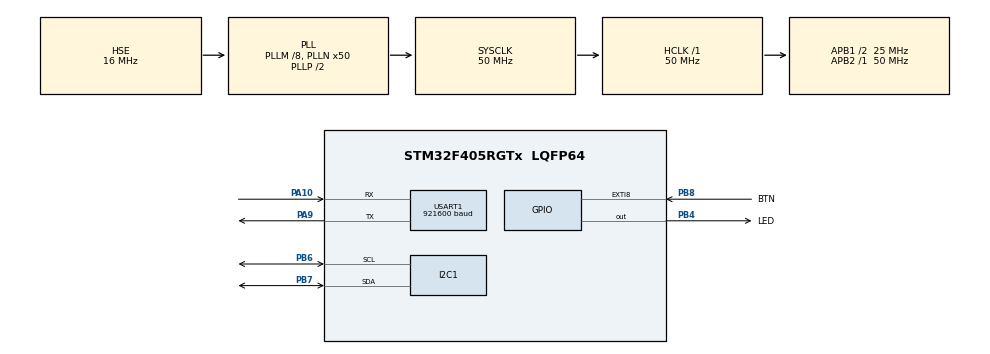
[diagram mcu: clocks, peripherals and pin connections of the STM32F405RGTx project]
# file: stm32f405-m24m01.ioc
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I2C1.I2C_Mode=I2C_Fast
Mcu.Family=STM32F4
Mcu.Name=STM32F405RGTx
Mcu.Package=LQFP64
NVIC.EXTI9_5_IRQn=true\:0\:0\:false\:false\:true\:true\:true\:true
NVIC.PriorityGroup=NVIC_PRIORITYGROUP_4
PA10.Mode=Asynchronous
PA10.Signal=USART1_RX
PA13.Mode=Serial_Wire
PA13.Signal=SYS_JTMS-SWDIO
PA14.Mode=Serial_Wire
PA14.Signal=SYS_JTCK-SWCLK
PA9.Mode=Asynchronous
PA9.Signal=USART1_TX
PB4.GPIO_Label=LED
PB4.GPIO_ModeDefaultOutputPP=GPIO_MODE_OUTPUT_OD
PB4.GPIO_PuPd=GPIO_NOPULL
PB4.PinState=GPIO_PIN_SET
PB4.Signal=GPIO_Output
PB6.GPIO_Pu=GPIO_PULLUP
PB6.Mode=I2C
PB6.Signal=I2C1_SCL
PB7.GPIO_Pu=GPIO_PULLUP
PB7.Mode=I2C
PB7.Signal=I2C1_SDA
PB8.GPIO_Label=BTN
PB8.GPIO_ModeDefaultEXTI=GPIO_MODE_IT_RISING_FALLING
PB8.Signal=GPXTI8
PH0-OSC_IN.Mode=HSE-External-Oscillator
PH0-OSC_IN.Signal=RCC_OSC_IN
PH1-OSC_OUT.Mode=HSE-External-Oscillator
PH1-OSC_OUT.Signal=RCC_OSC_OUT
ProjectManager.HeapSize=0x200
ProjectManager.StackSize=0x400
ProjectManager.TargetToolchain=STM32CubeIDE
RCC.48MHZClocksFreq_Value=25000000
RCC.AHBFreq_Value=50000000
RCC.APB1CLKDivider=RCC_HCLK_DIV2
RCC.APB1Freq_Value=25000000
RCC.APB1TimFreq_Value=50000000
RCC.APB2Freq_Value=50000000
RCC.APB2TimFreq_Value=50000000
RCC.CortexFreq_Value=50000000
RCC.HCLKFreq_Value=50000000
RCC.HSE_VALUE=16000000
RCC.HSI_VALUE=16000000
RCC.LSE_VALUE=32768
RCC.PLLM=8
RCC.PLLN=50
RCC.PLLSourceVirtual=RCC_PLLSOURCE_HSE
RCC.SYSCLKFreq_VALUE=50000000
RCC.SYSCLKSource=RCC_SYSCLKSOURCE_PLLCLK
RCC.VCOOutputFreq_Value=100000000
USART1.BaudRate=921600
USART1.VirtualMode=VM_ASYNC
board=custom

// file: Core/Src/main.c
/* USER CODE BEGIN Header */
/**
 ******************************************************************************
 * @file           : main.c
 * @brief          : Main program body
 ******************************************************************************
 * @attention
 *
 * Copyright (c) 2023 Lars Boegild Thomsen <lbthomsen@gmail.com>
 * All rights reserved.
 *
 * This software is licensed under terms that can be found in the LICENSE file
 * in the root directory of this software component.
 * If no LICENSE file comes with this software, it is provided AS-IS.
 *
 ******************************************************************************
 */
/* USER CODE END Header */
#include "main.h"

/* USER CODE BEGIN Includes */
#include <string.h>
#include "m24cxx.h"
#include "lfs.h"
#include "littlefs.h"
/* USER CODE END Includes */

I2C_HandleTypeDef hi2c1;

UART_HandleTypeDef huart1;

/* USER CODE BEGIN PV */
M24CXX_HandleTypeDef m24cxx;

uint8_t buf[256];
uint8_t do_action = 0;

lfs_file_t file;
lfs_dir_t dir;
struct lfs_info info;
/* USER CODE END PV */

void SystemClock_Config(void);
static void MX_GPIO_Init(void);
static void MX_I2C1_Init(void);
static void MX_USART1_UART_Init(void);

/* USER CODE BEGIN 0 */

// Send printf to uart1
int _write(int fd, char *ptr, int len) {
    HAL_StatusTypeDef hstatus;

    if (fd == 1 || fd == 2) {
        hstatus = HAL_UART_Transmit(&huart1, (uint8_t*) ptr, len, HAL_MAX_DELAY);
        if (hstatus == HAL_OK)
            return len;
        else
            return -1;
    }
    return -1;
}

void HAL_GPIO_EXTI_Callback(uint16_t GPIO_Pin) {
    if (GPIO_Pin == BTN_Pin) // If the button
    {
        do_action = 1;
    }
}

void dump_buf(uint8_t *buf, uint32_t size) {
    for (uint32_t i = 0; i < size; ++i) {
        if (i % 16 == 0) {
            printf("0x%08lx: ", i);
        }
        printf("%02x ", buf[i]);
        if ((i + 1) % 16 == 0)
            printf("\n");
    }
}

void fill_buffer(uint8_t *buf, uint32_t size, uint8_t type) {
    switch (type) {
    case 0:
        memset(buf, 0x00, size);
        break;
    case 1:
        memset(buf, 0xff, size);
        break;
    case 2:
        memset(buf, 0xaa, size);
        break;
    case 3:
        for (uint32_t i = 0; i < size; ++i) {
            buf[i] = (uint8_t) i;
        }
        break;
    }
}
/* USER CODE END 0 */

int main(void)
{

  /* MCU Configuration--------------------------------------------------------*/

  /* Reset of all peripherals, Initializes the Flash interface and the Systick. */
  HAL_Init();

  /* Configure the system clock */
  SystemClock_Config();

  /* Initialize all configured peripherals */
  MX_GPIO_Init();
  MX_I2C1_Init();
  MX_USART1_UART_Init();
  /* USER CODE BEGIN 2 */
    DBG("\n\n\n--------\nStarting");

    // Wait a few ms to get ready
    HAL_Delay(10);

    DBG("Scanning I2C bus:");
    // Go through all possible i2c addresses
    for (uint8_t i = 0; i < 128; i++) {

        if (HAL_I2C_IsDeviceReady(&hi2c1, (uint16_t) (i << 1), 3, 100) == HAL_OK) {
            // We got an ack
            printf("%2x ", i);
        } else {
            printf("-- ");
        }

        if (i > 0 && (i + 1) % 16 == 0)
            printf("\n");

    }

    printf("\n");

    if (m24cxx_init(&m24cxx, &hi2c1, 0x50) != M24CXX_Ok) {
        DBG("M24CXX Failed to initialize");
        Error_Handler();
    }

    //m24cxx_erase_all(&m24cxx);

    m24cxx_littlefs_init(&m24cxx);

    // read current count
    uint32_t boot_count = 0;

    lfs_file_open(&littlefs, &file, "boot_count", LFS_O_RDWR | LFS_O_CREAT);
    lfs_file_read(&littlefs, &file, &boot_count, sizeof(boot_count));

    // update boot count
    boot_count += 1;
    lfs_file_rewind(&littlefs, &file);
    lfs_file_write(&littlefs, &file, &boot_count, sizeof(boot_count));

    // remember the storage is not updated until the file is closed successfully
    lfs_file_close(&littlefs, &file);

    uint32_t start_uptime = 0;

    lfs_file_open(&littlefs, &file, "uptime", LFS_O_RDWR | LFS_O_CREAT);
    lfs_file_read(&littlefs, &file, &start_uptime, sizeof(start_uptime));
    lfs_file_close(&littlefs, &file);

    DBG("Boot count = %lu start uptime = %lu", boot_count, start_uptime);

  /* USER CODE END 2 */

  /* Infinite loop */
  /* USER CODE BEGIN WHILE */

    uint32_t now = 0, next_blink = 500, next_update = 1000;

    while (1) {

        now = uwTick;

        if (now >= next_blink) {
            HAL_GPIO_TogglePin(LED_GPIO_Port, LED_Pin);
            next_blink = now + 500;
        }

        if (now >= next_update) {

            uint32_t total_uptime = start_uptime + now;

            DBG("Total uptime = %lu", total_uptime);

            uint32_t start = HAL_GetTick();
            lfs_file_open(&littlefs, &file, "uptime", LFS_O_RDWR);
            lfs_file_rewind(&littlefs, &file);
            lfs_file_write(&littlefs, &file, &total_uptime, sizeof(total_uptime));
            lfs_file_close(&littlefs, &file);
            DBG("File update took %lu ms", HAL_GetTick() - start);

            next_update = now + 1000;
        }

        if (do_action) {
            do_action = 0;
            DBG("Do action!");

            if (m24cxx_read(&m24cxx, 0x0, (uint8_t*) &buf, sizeof(buf)) != M24CXX_Ok) {
                DBG("Returned err");
                Error_Handler();
            }

            dump_buf(buf, sizeof(buf));

            fill_buffer(buf, sizeof(buf), 0);

            if (m24cxx_write(&m24cxx, 0x0, (uint8_t*) &buf, sizeof(buf)) != M24CXX_Ok) {
                DBG("Returned err");
                Error_Handler();
            }

            if (m24cxx_read(&m24cxx, 0x0, (uint8_t*) &buf, sizeof(buf)) != M24CXX_Ok) {
                DBG("Returned err");
                Error_Handler();
            }

            dump_buf(buf, sizeof(buf));

            fill_buffer(buf, sizeof(buf), 1);

            if (m24cxx_write(&m24cxx, 0x0, (uint8_t*) &buf, sizeof(buf)) != M24CXX_Ok) {
                DBG("Returned err");
                Error_Handler();
            }

            if (m24cxx_read(&m24cxx, 0x0, (uint8_t*) &buf, sizeof(buf)) != M24CXX_Ok) {
                DBG("Returned err");
                Error_Handler();
            }

            dump_buf(buf, sizeof(buf));

            fill_buffer(buf, sizeof(buf), 2);

            if (m24cxx_write(&m24cxx, 0x0, (uint8_t*) &buf, sizeof(buf)) != M24CXX_Ok) {
                DBG("Returned err");
                Error_Handler();
            }

            if (m24cxx_read(&m24cxx, 0x0, (uint8_t*) &buf, sizeof(buf)) != M24CXX_Ok) {
                DBG("Returned err");
                Error_Handler();
            }

            dump_buf(buf, sizeof(buf));

            fill_buffer(buf, sizeof(buf), 3);

            if (m24cxx_write(&m24cxx, 0x0, (uint8_t*) &buf, sizeof(buf)) != M24CXX_Ok) {
                DBG("Returned err");
                Error_Handler();
            }

            if (m24cxx_read(&m24cxx, 0x0, (uint8_t*) &buf, sizeof(buf)) != M24CXX_Ok) {
                DBG("Returned err");
                Error_Handler();
            }

            dump_buf(buf, sizeof(buf));

            if (m24cxx_erase_all(&m24cxx) != M24CXX_Ok) {
                DBG("Returned err");
                Error_Handler();
            }

            if (m24cxx_read(&m24cxx, 0x0, (uint8_t*) &buf, sizeof(buf)) != M24CXX_Ok) {
                DBG("Returned err");
                Error_Handler();
            }

            dump_buf(buf, sizeof(buf));

        }
    /* USER CODE END WHILE */

    }
}

void SystemClock_Config(void)
{
  RCC_OscInitTypeDef RCC_OscInitStruct = {0};
  RCC_ClkInitTypeDef RCC_ClkInitStruct = {0};

  /** Configure the main internal regulator output voltage
  */
  __HAL_RCC_PWR_CLK_ENABLE();
  __HAL_PWR_VOLTAGESCALING_CONFIG(PWR_REGULATOR_VOLTAGE_SCALE1);

  /** Initializes the RCC Oscillators according to the specified parameters
  * in the RCC_OscInitTypeDef structure.
  */
  RCC_OscInitStruct.OscillatorType = RCC_OSCILLATORTYPE_HSE;
  RCC_OscInitStruct.HSEState = RCC_HSE_ON;
  RCC_OscInitStruct.PLL.PLLState = RCC_PLL_ON;
  RCC_OscInitStruct.PLL.PLLSource = RCC_PLLSOURCE_HSE;
  RCC_OscInitStruct.PLL.PLLM = 8;
  RCC_OscInitStruct.PLL.PLLN = 50;
  RCC_OscInitStruct.PLL.PLLP = RCC_PLLP_DIV2;
  RCC_OscInitStruct.PLL.PLLQ = 4;
  if (HAL_RCC_OscConfig(&RCC_OscInitStruct) != HAL_OK)
  {
    Error_Handler();
  }

  /** Initializes the CPU, AHB and APB buses clocks
  */
  RCC_ClkInitStruct.ClockType = RCC_CLOCKTYPE_HCLK|RCC_CLOCKTYPE_SYSCLK
                              |RCC_CLOCKTYPE_PCLK1|RCC_CLOCKTYPE_PCLK2;
  RCC_ClkInitStruct.SYSCLKSource = RCC_SYSCLKSOURCE_PLLCLK;
  RCC_ClkInitStruct.AHBCLKDivider = RCC_SYSCLK_DIV1;
  RCC_ClkInitStruct.APB1CLKDivider = RCC_HCLK_DIV2;
  RCC_ClkInitStruct.APB2CLKDivider = RCC_HCLK_DIV1;

  if (HAL_RCC_ClockConfig(&RCC_ClkInitStruct, FLASH_LATENCY_1) != HAL_OK)
  {
    Error_Handler();
  }
}

static void MX_I2C1_Init(void)
{

  hi2c1.Instance = I2C1;
  hi2c1.Init.ClockSpeed = 400000;
  hi2c1.Init.DutyCycle = I2C_DUTYCYCLE_2;
  hi2c1.Init.OwnAddress1 = 0;
  hi2c1.Init.AddressingMode = I2C_ADDRESSINGMODE_7BIT;
  hi2c1.Init.DualAddressMode = I2C_DUALADDRESS_DISABLE;
  hi2c1.Init.OwnAddress2 = 0;
  hi2c1.Init.GeneralCallMode = I2C_GENERALCALL_DISABLE;
  hi2c1.Init.NoStretchMode = I2C_NOSTRETCH_DISABLE;
  if (HAL_I2C_Init(&hi2c1) != HAL_OK)
  {
    Error_Handler();
  }

}

static void MX_USART1_UART_Init(void)
{

  huart1.Instance = USART1;
  huart1.Init.BaudRate = 921600;
  huart1.Init.WordLength = UART_WORDLENGTH_8B;
  huart1.Init.StopBits = UART_STOPBITS_1;
  huart1.Init.Parity = UART_PARITY_NONE;
  huart1.Init.Mode = UART_MODE_TX_RX;
  huart1.Init.HwFlowCtl = UART_HWCONTROL_NONE;
  huart1.Init.OverSampling = UART_OVERSAMPLING_16;
  if (HAL_UART_Init(&huart1) != HAL_OK)
  {
    Error_Handler();
  }

}

static void MX_GPIO_Init(void)
{
  GPIO_InitTypeDef GPIO_InitStruct = {0};

  /* GPIO Ports Clock Enable */
  __HAL_RCC_GPIOH_CLK_ENABLE();
  __HAL_RCC_GPIOA_CLK_ENABLE();
  __HAL_RCC_GPIOB_CLK_ENABLE();

  /*Configure GPIO pin Output Level */
  HAL_GPIO_WritePin(LED_GPIO_Port, LED_Pin, GPIO_PIN_SET);

  /*Configure GPIO pin : LED_Pin */
  GPIO_InitStruct.Pin = LED_Pin;
  GPIO_InitStruct.Mode = GPIO_MODE_OUTPUT_OD;
  GPIO_InitStruct.Pull = GPIO_NOPULL;
  GPIO_InitStruct.Speed = GPIO_SPEED_FREQ_LOW;
  HAL_GPIO_Init(LED_GPIO_Port, &GPIO_InitStruct);

  /*Configure GPIO pin : BTN_Pin */
  GPIO_InitStruct.Pin = BTN_Pin;
  GPIO_InitStruct.Mode = GPIO_MODE_IT_RISING_FALLING;
  GPIO_InitStruct.Pull = GPIO_NOPULL;
  HAL_GPIO_Init(BTN_GPIO_Port, &GPIO_InitStruct);

  /* EXTI interrupt init*/
  HAL_NVIC_SetPriority(EXTI9_5_IRQn, 0, 0);
  HAL_NVIC_EnableIRQ(EXTI9_5_IRQn);

}

void Error_Handler(void)
{
    __disable_irq();
    while (1) {
    }
}
